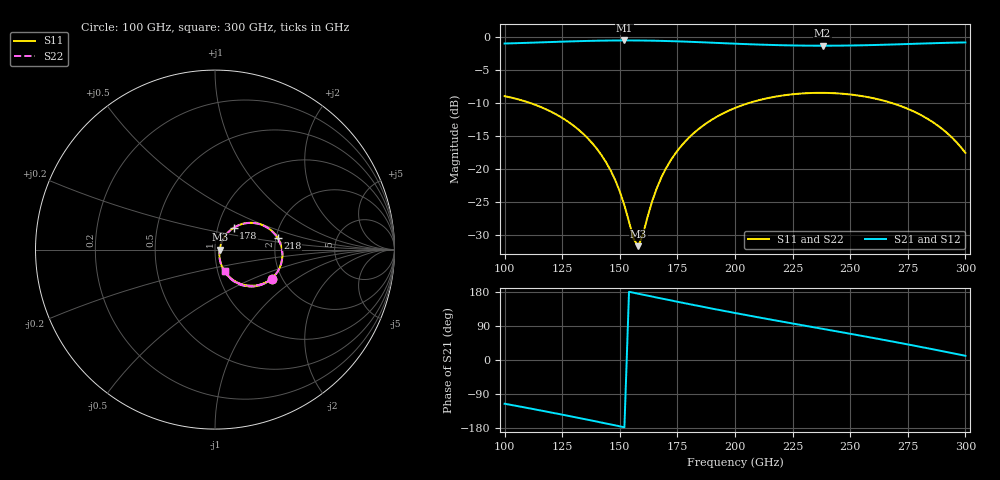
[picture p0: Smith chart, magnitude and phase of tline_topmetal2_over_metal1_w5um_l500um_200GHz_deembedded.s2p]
! Created with skrf 2.2.0 (http://scikit-rf.org).
# GHz S DB R 50.0
! Port[1] = P1
! Port[2] = P2
!freq dBS11 angS11 dBS21 angS21 dBS12 angS12 dBS22 angS22
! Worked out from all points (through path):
!   101 points, 100 GHz to 300 GHz, reference 50 ohm
!   highest |S21| = -0.52 dB at 152 GHz (marker M1); lowest = -1.3 dB at 238 GHz (marker M2)
!   group delay of S21, straight-line fit = 3.23 ps
!   lowest |S11| = -31.7 dB at 158 GHz (marker M3), VSWR 1.05, Z = 52.7 - j0.131 ohm
!   |S11| at or under -10 dB: 111.1 GHz to 206 GHz (94.93 GHz wide, 59.9 % of centre); 268.1 GHz to end of sweep
!   |S22| runs from -31.7 to -8.5 dB; largest |S21 - S12| = 1.1e-14
!   S11 on the Smith chart (normalised r, x): 100 GHz: 1.78, -0.66; 178 GHz: 1.19, +0.30; 218 GHz: 2.04, +0.31; 300 GHz: 1.08, -0.27
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100  -8.96 -26.9  -0.98 -115.4  -0.98 -115.4  -8.96 -27.0
120  -11.28 -47.3  -0.76 -138.3  -0.76 -138.3  -11.29 -47.5
134  -14.63 -60.8  -0.61 -155.1  -0.61 -155.1  -14.63 -61.0
144  -18.95 -67.4  -0.54 -167.5  -0.54 -167.5  -18.96 -67.6
148  -21.66 -67.1  -0.53 -172.5  -0.53 -172.5  -21.67 -67.4
152  -25.49 -61.0  -0.52 -177.5  -0.52 -177.5  -25.50 -61.3
156  -30.59 -33.5  -0.53 177.5  -0.53 177.5  -30.64 -33.8
158  -31.68 -2.7  -0.53 174.9  -0.53 174.9  -31.73 -2.8
160  -29.96 25.3  -0.54 172.4  -0.54 172.4  -29.99 25.4
164  -24.93 48.1  -0.56 167.4  -0.56 167.4  -24.94 48.1
168  -21.31 53.0  -0.59 162.4  -0.59 162.4  -21.32 53.0
172  -18.74 52.9  -0.63 157.5  -0.63 157.5  -18.74 52.8
178  -15.98 49.5  -0.69 150.1  -0.69 150.1  -15.98 49.4
188  -12.96 40.8  -0.83 138.1  -0.83 138.1  -12.97 40.7
200  -10.75 29.0  -1.01 124.1  -1.01 124.1  -10.75 28.8
218  -9.01 10.8  -1.22 104.0  -1.22 104.0  -9.01 10.6
234  -8.47 -5.2  -1.31 86.6  -1.31 86.6  -8.48 -5.4
238  -8.46 -9.1  -1.32 82.2  -1.32 82.2  -8.46 -9.4
254  -8.89 -25.0  -1.26 64.8  -1.26 64.8  -8.90 -25.4
268  -9.99 -38.9  -1.14 49.1  -1.14 49.1  -10.00 -39.3
286  -12.93 -56.1  -0.94 28.1  -0.94 28.1  -12.94 -56.6
300  -17.55 -65.4  -0.82 11.1  -0.82 11.1  -17.58 -66.2
